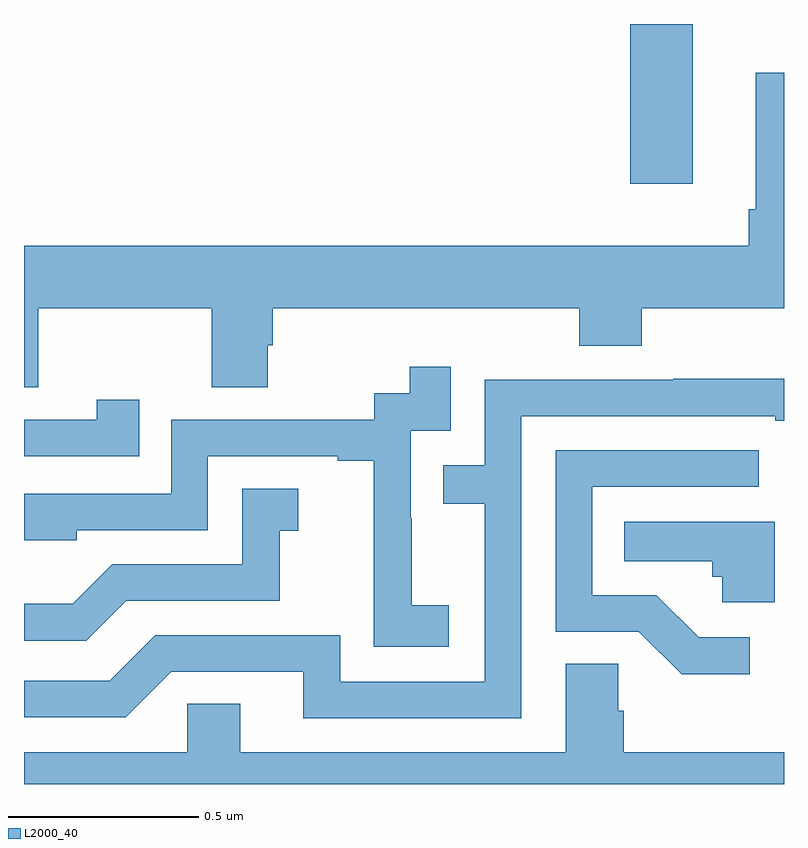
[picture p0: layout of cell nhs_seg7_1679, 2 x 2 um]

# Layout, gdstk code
import gdstk
lib = gdstk.Library(unit=1e-6, precision=1e-09)
def R(c, l, rs):  # rectangles x0, y0, x1, y1
    for r in rs: c.add(gdstk.rectangle(r[:2], r[2:], *l))
def P(c, l, *ps):  # polygons
    for p in ps: c.add(gdstk.Polygon(p, *l))
L2000_40 = (2000, 40)

nhs_seg7_1679 = lib.new_cell('nhs_seg7_1679')
R(nhs_seg7_1679, L2000_40, [(135.596,1031.58,135.76,1032)])
P(nhs_seg7_1679, L2000_40, [(134.037,1031.252),(134.494,1031.252),(134.494,1031.044),(134.641,1031.044),(134.641,1031.154),(134.654,1031.154),(134.654,1031.252),(135.461,1031.252),(135.461,1031.153),(135.626,1031.153),(135.626,1031.252),(136,1031.252),(136,1031.872),(135.926,1031.872),(135.926,1031.512),(135.907,1031.512),(135.907,1031.416),(134,1031.416),(134,1031.044),(134.037,1031.044)],
  [(135.118,1030.471),(135.02,1030.471),(135.02,1030.7),(135.018,1030.7),(135.018,1030.929),(135.123,1030.929),(135.123,1031.098),(135.015,1031.098),(135.015,1031.028),(134.922,1031.028),(134.922,1030.959),(134.388,1030.959),(134.388,1030.764),(134,1030.764),(134,1030.641),(134.139,1030.641),(134.139,1030.668),(134.484,1030.668),(134.484,1030.863),(134.825,1030.863),(134.825,1030.851),(134.921,1030.851),(134.921,1030.567),(134.92,1030.567),(134.92,1030.361),(135.118,1030.361)],
  [(135.309,1030.968),(135.977,1030.968),(135.977,1030.956),(136,1030.956),(136,1031.066),(135.709,1031.066),(135.709,1031.064),(135.213,1031.064),(135.213,1030.839),(135.103,1030.839),(135.103,1030.738),(135.213,1030.738),(135.213,1030.269),(134.832,1030.269),(134.832,1030.392),(134.346,1030.392),(134.226,1030.272),(134,1030.272),(134,1030.176),(134.268,1030.176),(134.388,1030.296),(134.735,1030.296),(134.735,1030.173),(135.309,1030.173)],
  [(134.303,1031.011),(134.192,1031.011),(134.192,1030.959),(134,1030.959),(134,1030.863),(134.303,1030.863)],
  [(135.91,1030.386),(135.775,1030.386),(135.664,1030.497),(135.495,1030.497),(135.495,1030.782),(135.934,1030.782),(135.934,1030.878),(135.399,1030.878),(135.399,1030.401),(135.618,1030.401),(135.731,1030.289),(135.91,1030.289)],
  [(134.269,1030.482),(134.673,1030.482),(134.673,1030.667),(134.722,1030.667),(134.722,1030.777),(134.574,1030.777),(134.574,1030.578),(134.232,1030.578),(134.128,1030.474),(134,1030.474),(134,1030.377),(134.164,1030.377)],
  [(135.976,1030.69),(135.58,1030.69),(135.58,1030.586),(135.811,1030.586),(135.811,1030.545),(135.837,1030.545),(135.837,1030.478),(135.976,1030.478)],
  [(136,1030.084),(135.578,1030.084),(135.578,1030.193),(135.564,1030.193),(135.564,1030.316),(135.425,1030.316),(135.425,1030.084),(134.569,1030.084),(134.569,1030.211),(134.43,1030.211),(134.43,1030.084),(134,1030.084),(134,1030),(136,1030)])

lib.write_gds('nhs_seg7_1679.gds')
